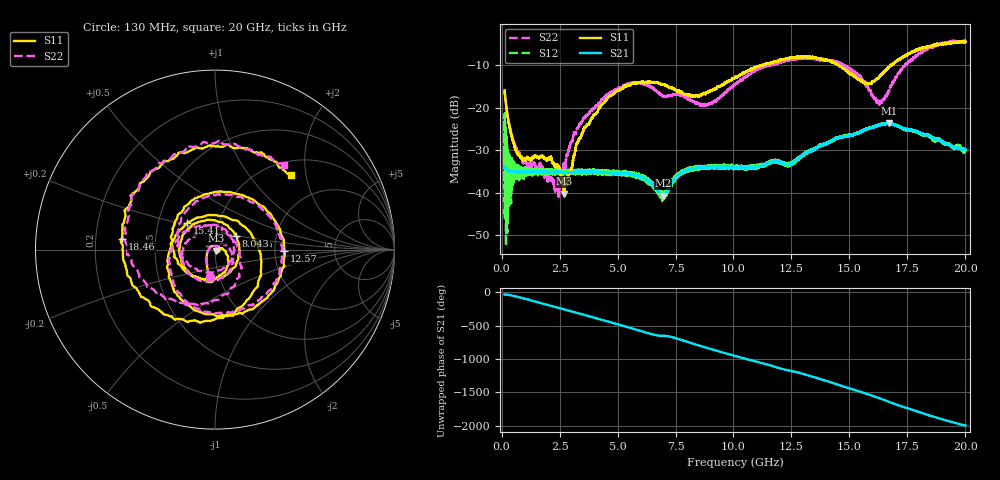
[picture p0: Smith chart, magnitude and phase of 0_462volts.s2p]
!Created with skrf (http://scikit-rf.org).
# GHz S RI R 50.0
!freq ReS11 ImS11 ReS21 ImS21 ReS12 ImS12 ReS22 ImS22
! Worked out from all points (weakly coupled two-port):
!   20013 points, 130 MHz to 20 GHz, reference 50 ohm
!   highest |S21| = -23.69 dB at 16.69 GHz (marker M1); lowest = -40.8 dB at 6.957 GHz (marker M2)
!   lowest |S11| = -40.2 dB at 2.691 GHz (marker M3), VSWR 1.02, Z = 50.8 - j0.545 ohm
!   |S11| at or under -10 dB: start of sweep to 11.27 GHz; 14.52 GHz to 16.78 GHz (2.256 GHz wide, 14.4 % of centre); 16.81014 GHz to 16.82539 GHz (15.25 MHz wide, 0.0907 % of centre) (the widest 3 of 15)
!   |S22| runs from -41.5 to -4.2 dB; largest |S21 - S12| = 0.095
!   S11 on the Smith chart (normalised r, x): 130 MHz: 0.90, -0.29; 8.043 GHz: 1.25, +0.19; 12.57 GHz: 2.25, -0.03; 15.41 GHz: 0.70, +0.22; 18.46 GHz: 0.31, +0.05; 20 GHz: 1.32, +1.66
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0.13  -0.0287 -0.1567  0.0165 -0.0118  -0.0709 0.0261  -0.0294 -0.1526
0.284  -0.047 -0.0544  0.0142 -0.0111  0.0179 -0.0113  -0.0456 -0.0579
0.873  -0.0115 0.023  0.0011 -0.0174  0.000543 -0.0168  -0.0175 0.0178
2.387  0.0163 -0.0132  -0.0118 0.0128  -0.0123 0.012  0.00972 0.0102
2.691  0.00815 -0.00537  -0.0042 0.0168  -0.00449 0.017  0.00689 0.0196
3.442  0.0467 0.000554  0.0148 0.00953  0.0143 0.0093  0.0615 0.0231
5.321  -0.056 -0.1709  -0.0147 -0.00813  -0.0147 -0.00849  -0.0455 -0.1785
6.754  -0.1724 0.0903  0.00333 0.00986  0.00397 0.0102  -0.1366 0.0633
6.957  -0.1308 0.1329  0.00366 0.00841  0.00345 0.00793  -0.115 0.0708
8.043  0.116 0.0754  0.0165 -0.00857  0.0171 -0.00909  0.0486 0.116
10.065  -0.2219 -0.0444  -0.0115 0.0162  -0.0115 0.016  -0.1827 -0.0392
11.39  0.0272 0.3253  0.0213 0.00145  0.0217 0.00182  -0.00243 0.3033
12.571  0.3842 -0.00625  -0.00603 -0.0215  -0.00611 -0.022  0.3554 0.0941
13.377  0.2186 -0.3249  -0.0311 0.00149  -0.0317 0.00178  0.2949 -0.234
14.546  -0.2355 -0.2028  0.0281 0.0339  0.0288 0.0346  -0.1408 -0.3035
15.411  -0.1562 0.1477  0.0362 -0.0355  0.0359 -0.0356  -0.2371 0.0198
16.689  0.2501 -0.1593  -0.0615 0.0221  -0.0609 0.0221  0.1421 -0.0583
16.693  0.2468 -0.1621  -0.0613 0.0228  -0.0608 0.0217  0.1446 -0.0609
17.602  -0.1848 -0.3886  0.0353 0.0418  0.0348 0.0421  -0.1739 -0.2991
18.461  -0.5187 0.0598  0.0312 -0.0334  0.0331 -0.0323  -0.5049 0.0607
19.278  -0.1445 0.5482  -0.0242 -0.0273  -0.0242 -0.0277  -0.171 0.5519
20  0.4295 0.407  -0.0308 0.00897  -0.0298 0.00873  0.3906 0.4733
